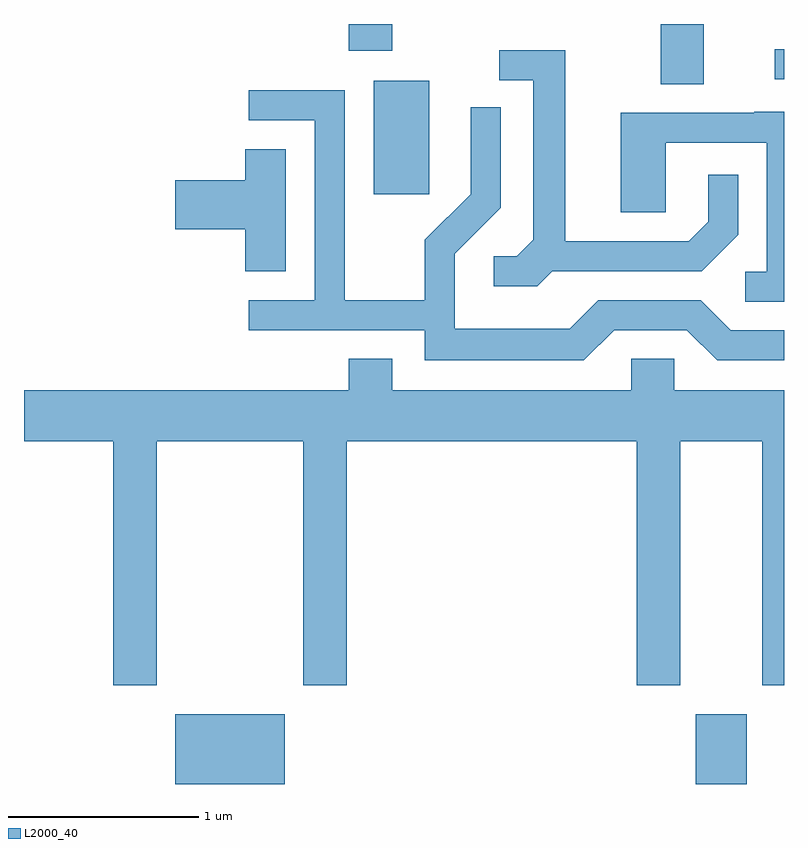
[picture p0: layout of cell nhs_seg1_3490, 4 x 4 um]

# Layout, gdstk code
import gdstk
lib = gdstk.Library(unit=1e-6, precision=1e-09)
def R(c, l, rs):  # rectangles x0, y0, x1, y1
    for r in rs: c.add(gdstk.rectangle(r[:2], r[2:], *l))
def P(c, l, *ps):  # polygons
    for p in ps: c.add(gdstk.Polygon(p, *l))
L2000_40 = (2000, 40)

nhs_seg1_3490 = lib.new_cell('nhs_seg1_3490')
R(nhs_seg1_3490, L2000_40, [(290.406,957.712,290.984,958.079), (293.146,957.712,293.414,958.079), (291.451,960.816,291.744,961.414), (292.961,961.396,293.189,961.712), (293.563,961.421,293.611,961.579), (291.321,961.571,291.549,961.712)])
P(nhs_seg1_3490, L2000_40, [(292.392,960.411),(293.177,960.411),(293.369,960.604),(293.369,960.918),(293.211,960.918),(293.211,960.672),(293.109,960.569),(292.459,960.569),(292.459,961.574),(292.113,961.574),(292.113,961.416),(292.291,961.416),(292.291,960.577),(292.204,960.489),(292.083,960.489),(292.083,960.331),(292.312,960.331)],
  [(292.717,960.101),(293.099,960.101),(293.259,959.941),(293.611,959.941),(293.611,960.099),(293.332,960.099),(293.172,960.259),(292.634,960.259),(292.484,960.109),(291.879,960.109),(291.879,960.504),(292.119,960.744),(292.119,961.273),(291.961,961.273),(291.961,960.817),(291.721,960.577),(291.721,960.259),(291.299,960.259),(291.299,961.364),(290.793,961.364),(290.793,961.206),(291.141,961.206),(291.141,960.259),(290.793,960.259),(290.793,960.101),(291.721,960.101),(291.721,959.941),(292.557,959.941)],
  [(293.611,961.249),(293.455,961.249),(293.455,961.244),(292.751,961.244),(292.751,960.721),(292.989,960.721),(292.989,961.086),(293.521,961.086),(293.521,960.409),(293.408,960.409),(293.408,960.251),(293.611,960.251)],
  [(290.989,961.054),(290.776,961.054),(290.776,960.889),(290.406,960.889),(290.406,960.631),(290.776,960.631),(290.776,960.411),(290.989,960.411)],
  [(290.309,959.516),(291.081,959.516),(291.081,958.231),(291.309,958.231),(291.309,959.516),(292.836,959.516),(292.836,958.231),(293.064,958.231),(293.064,959.516),(293.496,959.516),(293.496,958.231),(293.611,958.231),(293.611,959.784),(293.034,959.784),(293.034,959.949),(292.806,959.949),(292.806,959.784),(291.549,959.784),(291.549,959.949),(291.321,959.949),(291.321,959.784),(289.611,959.784),(289.611,959.516),(290.081,959.516),(290.081,958.231),(290.309,958.231)])

lib.write_gds('nhs_seg1_3490.gds')
